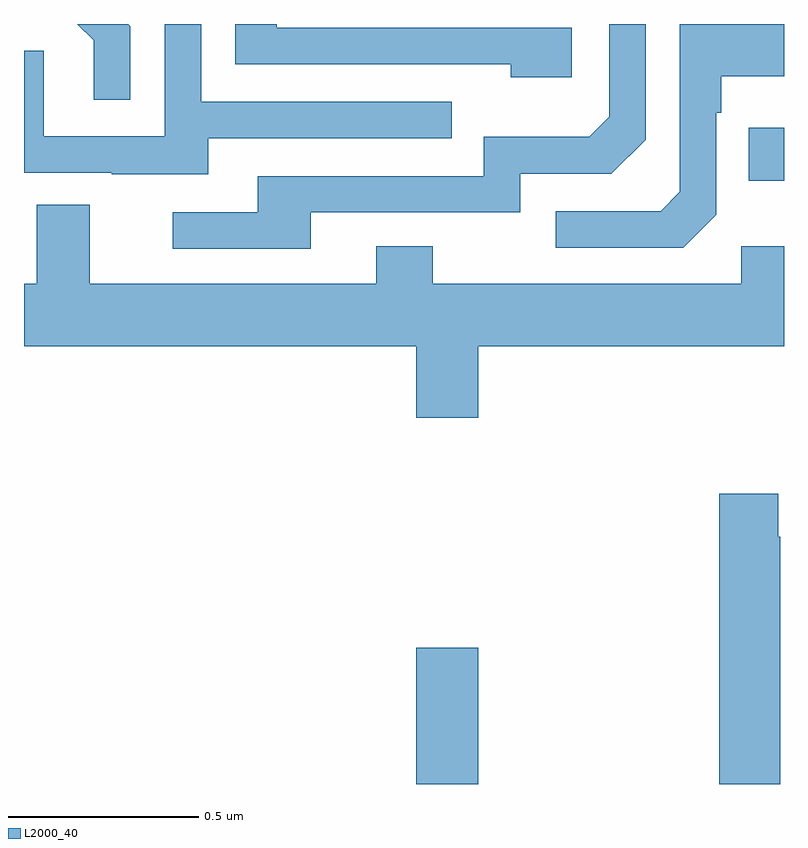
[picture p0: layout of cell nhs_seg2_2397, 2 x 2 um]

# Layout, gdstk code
import gdstk
lib = gdstk.Library(unit=1e-6, precision=1e-09)
def R(c, l, rs):  # rectangles x0, y0, x1, y1
    for r in rs: c.add(gdstk.rectangle(r[:2], r[2:], *l))
def P(c, l, *ps):  # polygons
    for p in ps: c.add(gdstk.Polygon(p, *l))
L2000_40 = (2000, 40)

nhs_seg2_2397 = lib.new_cell('nhs_seg2_2397')
R(nhs_seg2_2397, L2000_40, [(141.032,663.8,141.196,664.159), (141.907,665.387,142,665.527)])
P(nhs_seg2_2397, L2000_40, [(141.442,665.79),(140.665,665.79),(140.665,665.8),(140.556,665.8),(140.556,665.694),(141.281,665.694),(141.281,665.66),(141.442,665.66)],
  [(140.755,665.304),(141.306,665.304),(141.306,665.406),(141.546,665.406),(141.636,665.496),(141.636,665.8),(141.54,665.8),(141.54,665.556),(141.487,665.503),(141.21,665.503),(141.21,665.4),(140.615,665.4),(140.615,665.304),(140.391,665.304),(140.391,665.208),(140.755,665.208)],
  [(141.822,665.298),(141.822,665.567),(141.835,665.567),(141.835,665.663),(142,665.663),(142,665.8),(141.726,665.8),(141.726,665.358),(141.675,665.307),(141.399,665.307),(141.399,665.211),(141.735,665.211)],
  [(140.485,665.499),(141.125,665.499),(141.125,665.595),(140.466,665.595),(140.466,665.8),(140.37,665.8),(140.37,665.505),(140.052,665.505),(140.052,665.729),(140,665.729),(140,665.409),(140.231,665.409),(140.231,665.405),(140.485,665.405)],
  [(140.28,665.794),(140.274,665.8),(140.14,665.8),(140.183,665.757),(140.183,665.601),(140.28,665.601)],
  [(141.196,664.952),(142,664.952),(142,665.215),(141.888,665.215),(141.888,665.116),(141.075,665.116),(141.075,665.215),(140.927,665.215),(140.927,665.116),(140.173,665.116),(140.173,665.324),(140.033,665.324),(140.033,665.116),(140,665.116),(140,664.952),(141.032,664.952),(141.032,664.764),(141.196,664.764)],
  [(141.99,664.451),(141.985,664.451),(141.985,664.564),(141.83,664.564),(141.83,663.8),(141.99,663.8)])

lib.write_gds('nhs_seg2_2397.gds')
